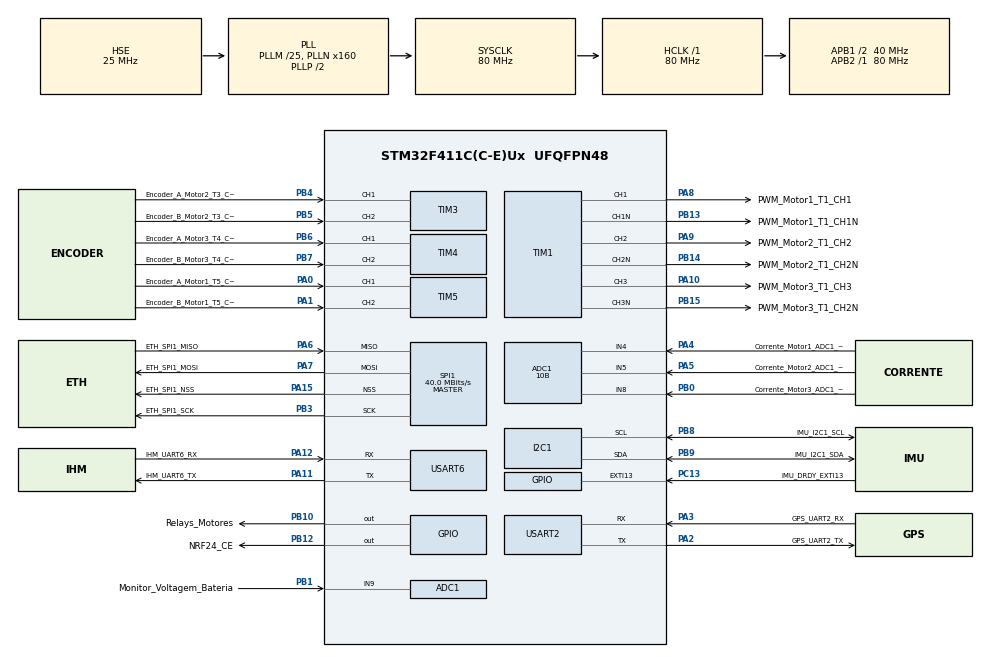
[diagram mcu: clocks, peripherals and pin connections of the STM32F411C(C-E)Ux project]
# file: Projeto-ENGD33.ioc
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ADC1.Channel-0\#ChannelRegularConversion=ADC_CHANNEL_4
ADC1.NbrOfConversion=1
ADC1.NbrOfConversionFlag=1
ADC1.Rank-0\#ChannelRegularConversion=1
ADC1.Resolution=ADC_RESOLUTION_10B
ADC1.SamplingTime-0\#ChannelRegularConversion=ADC_SAMPLETIME_3CYCLES
ADC1.master=1
FREERTOS.Tasks01=defaultTask,24,128,StartDefaultTask,Default,NULL,Dynamic,NULL,NULL
Mcu.Family=STM32F4
Mcu.Name=STM32F411C(C-E)Ux
Mcu.Package=UFQFPN48
NVIC.PriorityGroup=NVIC_PRIORITYGROUP_4
PA0-WKUP.GPIO_Label=Encoder_A_Motor1_T5_CH1
PA0-WKUP.Signal=S_TIM5_CH1
PA1.GPIO_Label=Encoder_B_Motor1_T5_CH2
PA1.Signal=S_TIM5_CH2
PA10.GPIO_Label=PWM_Motor3_T1_CH3
PA10.Signal=S_TIM1_CH3
PA11.GPIO_Label=IHM_UART6_TX
PA11.Mode=Asynchronous
PA11.Signal=USART6_TX
PA12.GPIO_Label=IHM_UART6_RX
PA12.Mode=Asynchronous
PA12.Signal=USART6_RX
PA13.Signal=SYS_JTMS-SWDIO
PA14.Signal=SYS_JTCK-SWCLK
PA15.GPIO_Label=ETH_SPI1_NSS
PA15.Mode=NSS_Signal_Hard_Output
PA15.Signal=SPI1_NSS
PA2.GPIO_Label=GPS_UART2_TX
PA2.Mode=Asynchronous
PA2.Signal=USART2_TX
PA3.GPIO_Label=GPS_UART2_RX
PA3.Mode=Asynchronous
PA3.Signal=USART2_RX
PA4.GPIO_Label=Corrente_Motor1_ADC1_IN4
PA4.Signal=ADCx_IN4
PA5.GPIO_Label=Corrente_Motor2_ADC1_IN5
PA5.Signal=ADCx_IN5
PA6.GPIO_Label=ETH_SPI1_MISO
PA6.Mode=Full_Duplex_Master
PA6.Signal=SPI1_MISO
PA7.GPIO_Label=ETH_SPI1_MOSI
PA7.Mode=Full_Duplex_Master
PA7.Signal=SPI1_MOSI
PA8.GPIO_Label=PWM_Motor1_T1_CH1
PA8.Signal=S_TIM1_CH1
PA9.GPIO_Label=PWM_Motor2_T1_CH2
PA9.Signal=S_TIM1_CH2
PB0.GPIO_Label=Corrente_Motor3_ADC1_IN8
PB0.Signal=ADCx_IN8
PB1.GPIO_Label=Monitor_Voltagem_Bateria
PB1.Signal=ADCx_IN9
PB10.GPIO_Label=Relays_Motores
PB10.Signal=GPIO_Output
PB12.GPIO_Label=NRF24_CE
PB12.GPIO_Speed=GPIO_SPEED_FREQ_VERY_HIGH
PB12.Signal=GPIO_Output
PB13.GPIO_Label=PWM_Motor1_T1_CH1N
PB13.Mode=PWM Generation1 CH1 CH1N
PB13.Signal=TIM1_CH1N
PB14.GPIO_Label=PWM_Motor2_T1_CH2N
PB14.Mode=PWM Generation2 CH2 CH2N
PB14.Signal=TIM1_CH2N
PB15.GPIO_Label=PWM_Motor3_T1_CH2N
PB15.Mode=PWM Generation3 CH3 CH3N
PB15.Signal=TIM1_CH3N
PB3.GPIO_Label=ETH_SPI1_SCK
PB3.Mode=Full_Duplex_Master
PB3.Signal=SPI1_SCK
PB4.GPIO_Label=Encoder_A_Motor2_T3_CH1
PB4.Signal=S_TIM3_CH1
PB5.GPIO_Label=Encoder_B_Motor2_T3_CH2
PB5.Signal=S_TIM3_CH2
PB6.GPIO_Label=Encoder_A_Motor3_T4_CH1
PB6.Signal=S_TIM4_CH1
PB7.GPIO_Label=Encoder_B_Motor3_T4_CH2
PB7.Signal=S_TIM4_CH2
PB8.GPIO_Label=IMU_I2C1_SCL
PB8.Mode=I2C
PB8.Signal=I2C1_SCL
PB9.GPIO_Label=IMU_I2C1_SDA
PB9.Mode=I2C
PB9.Signal=I2C1_SDA
PC13-ANTI_TAMP.GPIO_Label=IMU_DRDY_EXTI13
PC13-ANTI_TAMP.Signal=GPXTI13
PC14-OSC32_IN.GPIO_Label=Osc_32k768Hz_In
PC14-OSC32_IN.Mode=LSE-External-Oscillator
PC14-OSC32_IN.Signal=RCC_OSC32_IN
PC15-OSC32_OUT.GPIO_Label=Osc_32k768Hz_Out
PC15-OSC32_OUT.Mode=LSE-External-Oscillator
PC15-OSC32_OUT.Signal=RCC_OSC32_OUT
PH0\ -\ OSC_IN.GPIO_Label=Osc_25MHz_In
PH0\ -\ OSC_IN.Mode=HSE-External-Oscillator
PH0\ -\ OSC_IN.Signal=RCC_OSC_IN
PH1\ -\ OSC_OUT.GPIO_Label=Osc_25MHz_Out
PH1\ -\ OSC_OUT.Mode=HSE-External-Oscillator
PH1\ -\ OSC_OUT.Signal=RCC_OSC_OUT
ProjectManager.HeapSize=0x200
ProjectManager.StackSize=0x400
ProjectManager.TargetToolchain=STM32CubeIDE
RCC.48MHZClocksFreq_Value=40000000
RCC.AHBFreq_Value=80000000
RCC.APB1CLKDivider=RCC_HCLK_DIV2
RCC.APB1Freq_Value=40000000
RCC.APB1TimFreq_Value=80000000
RCC.APB2Freq_Value=80000000
RCC.APB2TimFreq_Value=80000000
RCC.CortexFreq_Value=80000000
RCC.HCLKFreq_Value=80000000
RCC.HSE_VALUE=25000000
RCC.HSI_VALUE=16000000
RCC.PLLM=25
RCC.PLLN=160
RCC.PLLSourceVirtual=RCC_PLLSOURCE_HSE
RCC.RCC_RTC_Clock_Source=RCC_RTCCLKSOURCE_LSE
RCC.SYSCLKFreq_VALUE=80000000
RCC.SYSCLKSource=RCC_SYSCLKSOURCE_PLLCLK
RCC.VCOOutputFreq_Value=160000000
SH.ADCx_IN4.0=ADC1_IN4,IN4
SH.ADCx_IN5.0=ADC1_IN5,IN5
SH.ADCx_IN8.0=ADC1_IN8,IN8
SH.ADCx_IN9.0=ADC1_IN9,IN9
SH.S_TIM1_CH1.0=TIM1_CH1,PWM Generation1 CH1 CH1N
SH.S_TIM1_CH2.0=TIM1_CH2,PWM Generation2 CH2 CH2N
SH.S_TIM1_CH3.0=TIM1_CH3,PWM Generation3 CH3 CH3N
SH.S_TIM3_CH1.0=TIM3_CH1,Encoder_Interface
SH.S_TIM3_CH2.0=TIM3_CH2,Encoder_Interface
SH.S_TIM4_CH1.0=TIM4_CH1,Encoder_Interface
SH.S_TIM4_CH2.0=TIM4_CH2,Encoder_Interface
SH.S_TIM5_CH1.0=TIM5_CH1,Encoder_Interface
SH.S_TIM5_CH2.0=TIM5_CH2,Encoder_Interface
SPI1.CalculateBaudRate=40.0 MBits/s
SPI1.Direction=SPI_DIRECTION_2LINES
SPI1.Mode=SPI_MODE_MASTER
SPI1.VirtualNSS=VM_NSSHARD
SPI1.VirtualType=VM_MASTER
TIM1.Channel-PWM\ Generation1\ CH1\ CH1N=TIM_CHANNEL_1
TIM1.Channel-PWM\ Generation2\ CH2\ CH2N=TIM_CHANNEL_2
TIM1.Channel-PWM\ Generation3\ CH3\ CH3N=TIM_CHANNEL_3
USART2.VirtualMode=VM_ASYNC
USART6.VirtualMode=VM_ASYNC
VP_ADC1_TempSens_Input.Mode=IN-TempSens
VP_FREERTOS_VS_CMSIS_V2.Mode=CMSIS_V2
VP_RTC_VS_RTC_Activate.Mode=RTC_Enabled
VP_RTC_VS_RTC_Calendar.Mode=RTC_Calendar
VP_TIM1_VS_ClockSourceINT.Mode=Internal
board=custom

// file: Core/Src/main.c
/* USER CODE BEGIN Header */
/**
 ******************************************************************************
 * @file           : main.c
 * @brief          : Main program body
 ******************************************************************************
 * @attention
 *
 * Copyright (c) 2025 STMicroelectronics.
 * All rights reserved.
 *
 * This software is licensed under terms that can be found in the LICENSE file
 * in the root directory of this software component.
 * If no LICENSE file comes with this software, it is provided AS-IS.
 *
 ******************************************************************************
 */
/* USER CODE END Header */
#include "main.h"
#include "cmsis_os.h"
#include "communication_protocols.h"
#include "kalman.h"
#include "task.h"
#include "semphr.h"
#include "queue.h"
#include "event_groups.h"
#include "string.h"
#include "stdio.h"

/* USER CODE BEGIN Includes */
#include "marvelmind_gps.h"
/* USER CODE END Includes */

ADC_HandleTypeDef hadc1;

I2C_HandleTypeDef hi2c1;

RTC_HandleTypeDef hrtc;

SPI_HandleTypeDef hspi1;

TIM_HandleTypeDef htim1;
TIM_HandleTypeDef htim3;
TIM_HandleTypeDef htim4;
TIM_HandleTypeDef htim5;

UART_HandleTypeDef huart2;
UART_HandleTypeDef huart6;

/* Definitions for defaultTask */
osThreadId_t defaultTaskHandle;
const osThreadAttr_t defaultTask_attributes = { .name = "defaultTask",
		.stack_size = 128 * 4, .priority = (osPriority_t) osPriorityNormal, };

void SystemClock_Config(void);
static void MX_GPIO_Init(void);
static void MX_RTC_Init(void);
static void MX_ADC1_Init(void);
static void MX_I2C1_Init(void);
static void MX_SPI1_Init(void);
static void MX_TIM1_Init(void);
static void MX_TIM3_Init(void);
static void MX_TIM4_Init(void);
static void MX_TIM5_Init(void);
static void MX_USART2_UART_Init(void);
static void MX_USART6_UART_Init(void);
void StartDefaultTask(void *argument);

/* USER CODE BEGIN 0 */

#define MAX_DELAY 10

SemaphoreHandle_t xDRDYBinarySemaphore;
QueueHandle_t xMagQueue;
QueueHandle_t xGPSQueue;
QueueHandle_t xSensorQueue;
EventGroupHandle_t xSensorEventGroup;

void vI2C_IMU_Send_Request_Task(void *pvParameters) {
	// Default mode for the sensor
	uint8_t mode = 0x01;
	const TickType_t xDelay = pdMS_TO_TICKS(I2C_TASK_DELAY);
	TickType_t xLastWakeTime = xTaskGetTickCount();

	for (;;) {
		HAL_I2C_Mem_Write(&hi2c1,
		HMC5883L_WRITE_ADDRESS,
		HMC5883L_REG_WRITE_ADDRESS,
		I2C_MEMADD_SIZE_8BIT, &mode, sizeof(mode),
		HAL_MAX_DELAY);

		vTaskDelayUntil(&xLastWakeTime, xDelay);
	}
}

void vI2C_IMU_Handle_Interrupt() {
	BaseType_t xHigherPriorityTaskWoken = pdFALSE;
	xSemaphoreGiveFromISR(xDRDYBinarySemaphore, &xHigherPriorityTaskWoken);
	portYIELD_FROM_ISR(xHigherPriorityTaskWoken);
}

void vI2C_IMU_Management_Task(void *pvParameters) {
	uint8_t data[6];
	MagnetometerData mag_data;

	for (;;) {
		// Verify if the semaphore is there
		xSemaphoreTake(xDRDYBinarySemaphore, MAX_DELAY);

		HAL_I2C_Mem_Read(&hi2c1, HMC5883L_READ_ADDRESS,
		HMC5883L_REG_READ_ADDRESS, I2C_MEMADD_SIZE_8BIT, data, 6,
		HAL_MAX_DELAY);

		mag_data.timestamp = xTaskGetTickCount();
		mag_data.x = (data[0] << 8) | data[1];
		mag_data.y = (data[4] << 8) | data[5];
		mag_data.z = (data[2] << 8) | data[3];

		if (xQueueSendToBack(xMagQueue, &mag_data, MAX_DELAY) != pdPASS) {
			break;
		}

		xEventGroupSetBits(xSensorEventGroup, SENSOR_MAG_READY);
	}
}

void vUART_Management_Task(void *pvParameters) {
	uint8_t uart_rx_byte;

	const TickType_t xDelay = pdMS_TO_TICKS(UART_TASK_DELAY);
	TickType_t xLastWakeTime = xTaskGetTickCount();

	Marvelmind_Init();
	MarvelmindUserPayload *payload;

	for (;;) {
		if (HAL_UART_Receive(&huart2, &uart_rx_byte, 1, UART_RX_DELAY_TIME)
							!= HAL_OK) {
			break;
		}

		Marvelmind_ProcessByte(uart_rx_byte);
		payload = Marvelmind_GetPayload();

		if (payload->updated) {
			GPSData data;
			data.timestamp = xTaskGetTickCount();  // receipt completion time (in firmware)
			data.id        = payload->id;
			data.x         = payload->x;
			data.y         = payload->y;
			data.z         = payload->z;
			data.anchors   = 0;

			xQueueSendToBack(xGPSQueue, &data, portMAX_DELAY);
			xEventGroupSetBits(xSensorEventGroup, SENSOR_GPS_READY);
		}

		vTaskDelayUntil(&xLastWakeTime, xDelay);
	}
}

void vSensor_Event_Handler_Task(void *pvParameters) {
	EventBits_t xEventGroupValue;
	const EventBits_t xBitsToWaitFor = (SENSOR_MAG_READY | SENSOR_GPS_READY);
	MagnetometerData magnetometer_data;
	GPSData gps_data;
	SensorData sensor_data;

	// Inicializar o filtro de Kalman
	kalman_filter_init();

	// Variáveis para controle de tempo
	TickType_t xLastWakeTime = xTaskGetTickCount();
	TickType_t xCurrentTime, xPreviousTime = xLastWakeTime;
	float dt = 0.0f;

	for (;;) {
		xEventGroupValue = xEventGroupWaitBits(xSensorEventGroup,
				xBitsToWaitFor,
				pdTRUE,
				pdTRUE,
				MAX_DELAY);

		if (xEventGroupValue) {
			if (!uxQueueMessagesWaiting(xMagQueue)
					|| !uxQueueMessagesWaiting(xGPSQueue)) {
				continue;
			}

			if (xQueueReceive(xMagQueue, &magnetometer_data,
			MAX_DELAY) != pdPASS
					|| xQueueReceive(xGPSQueue, &gps_data, MAX_DELAY) != pdPASS) {
				continue;
			}

			// Filtro de Kalman

			// calculo do dt
			xCurrentTime = xTaskGetTickCount();
			dt = (float)(xCurrentTime - xPreviousTime) / configTICK_RATE_HZ; // Convert to seconds
			xPreviousTime = xCurrentTime;

			// predição do Kalman (baseada no modelo de movimento)
			if (dt > 0.001f && dt < 1.0f) {  // Validar dt razoável
				kalman_filter_predict(dt);
			}

			// preparar dados de medição
			SensorData measurement_data;
			measurement_data.x = (float)gps_data.x / 100.0f;     // Convert cm to m
			measurement_data.y = (float)gps_data.y / 100.0f;     // Convert cm to m

			// calcular orientação (yaw) a partir do magnetômetro
			float mag_x = (float)magnetometer_data.x;
			float mag_y = (float)magnetometer_data.y;
			measurement_data.omega = atan2f(mag_y, mag_x);       // Yaw em radianos

			// atualização do Kalman com as medições
			kalman_filter_update(&measurement_data);

			// obter estados estimados do Kalman
			sensor_data.timestamp = xCurrentTime;
			sensor_data.x = kalman_state.states_vector[0] * 100.0f;  // Convert back to cm
			sensor_data.y = kalman_state.states_vector[1] * 100.0f;  // Convert back to cm
			sensor_data.z = gps_data.z;

			// estados de orientação e velocidade do Kalman
			sensor_data.roll = magnetometer_data.x;   // Raw magnetometer
			sensor_data.pitch = magnetometer_data.y;  // Raw magnetometer
			sensor_data.yaw = kalman_state.states_vector[2] * 180.0f / M_PI;  // Convert rad to degrees

			if (xQueueSendToBack(xSensorQueue, &sensor_data,
					MAX_DELAY) != pdPASS) {
				continue;
			}

			xEventGroupSetBits(xSensorEventGroup, SENSOR_ALL_READY);
		}
	}
}

/* USER CODE END 0 */

int main(void) {

	/* MCU Configuration--------------------------------------------------------*/

	/* Reset of all peripherals, Initializes the Flash interface and the Systick. */
	HAL_Init();

	/* Configure the system clock */
	SystemClock_Config();

	/* Initialize all configured peripherals */
	MX_GPIO_Init();
	MX_RTC_Init();
	MX_ADC1_Init();
	MX_I2C1_Init();
	MX_SPI1_Init();
	MX_TIM1_Init();
	MX_TIM3_Init();
	MX_TIM4_Init();
	MX_TIM5_Init();
	MX_USART2_UART_Init();
	MX_USART6_UART_Init();

	/* Init scheduler */
	osKernelInitialize();

	xTaskCreate(vI2C_IMU_Send_Request_Task, "Handle I2C Send Request Task",
			1000,
			NULL, 1,
			NULL);
	xTaskCreate(vUART_Management_Task, "Handle UART Task", 1000,
	NULL, 1,
	NULL);
	xTaskCreate(vSensor_Event_Handler_Task, "Sensor Event Handler Task", 1000,
	NULL, 1,
	NULL);

	/* USER CODE BEGIN RTOS_SEMAPHORES */
	/* add semaphores, ... */
	xDRDYBinarySemaphore = xSemaphoreCreateBinary();
	if (xDRDYBinarySemaphore != NULL) {
		xTaskCreate(vI2C_IMU_Management_Task,
				"Manage the data from the Mag Sensor", 1000,
				NULL, 1,
				NULL);
	}
	/* USER CODE END RTOS_SEMAPHORES */

	/* USER CODE BEGIN RTOS_QUEUES */
	/* add queues, ... */
	xMagQueue = xQueueCreate(DATA_QUEUE_SIZE, sizeof(MagnetometerData));
	xGPSQueue = xQueueCreate(DATA_QUEUE_SIZE, sizeof(GPSData));
	xSensorQueue = xQueueCreate(DATA_QUEUE_SIZE, sizeof(SensorData));
	/* USER CODE END RTOS_QUEUES */

	/* Create the thread(s) */
	/* creation of defaultTask */
	defaultTaskHandle = osThreadNew(StartDefaultTask, NULL,
			&defaultTask_attributes);

	/* USER CODE BEGIN RTOS_EVENTS */
	/* add events, ... */
	xSensorEventGroup = xEventGroupCreate();
	/* USER CODE END RTOS_EVENTS */

	/* Start scheduler */
	osKernelStart();

	/* We should never get here as control is now taken by the scheduler */

	/* Infinite loop */
	while (1) {

	}
}

void SystemClock_Config(void) {
	RCC_OscInitTypeDef RCC_OscInitStruct = { 0 };
	RCC_ClkInitTypeDef RCC_ClkInitStruct = { 0 };

	/** Configure the main internal regulator output voltage
	 */
	__HAL_RCC_PWR_CLK_ENABLE();
	__HAL_PWR_VOLTAGESCALING_CONFIG(PWR_REGULATOR_VOLTAGE_SCALE1);

	/** Initializes the RCC Oscillators according to the specified parameters
	 * in the RCC_OscInitTypeDef structure.
	 */
	RCC_OscInitStruct.OscillatorType = RCC_OSCILLATORTYPE_HSE
			| RCC_OSCILLATORTYPE_LSE;
	RCC_OscInitStruct.HSEState = RCC_HSE_ON;
	RCC_OscInitStruct.LSEState = RCC_LSE_ON;
	RCC_OscInitStruct.PLL.PLLState = RCC_PLL_ON;
	RCC_OscInitStruct.PLL.PLLSource = RCC_PLLSOURCE_HSE;
	RCC_OscInitStruct.PLL.PLLM = 25;
	RCC_OscInitStruct.PLL.PLLN = 160;
	RCC_OscInitStruct.PLL.PLLP = RCC_PLLP_DIV2;
	RCC_OscInitStruct.PLL.PLLQ = 4;
	if (HAL_RCC_OscConfig(&RCC_OscInitStruct) != HAL_OK) {
		Error_Handler();
	}

	/** Initializes the CPU, AHB and APB buses clocks
	 */
	RCC_ClkInitStruct.ClockType = RCC_CLOCKTYPE_HCLK | RCC_CLOCKTYPE_SYSCLK
			| RCC_CLOCKTYPE_PCLK1 | RCC_CLOCKTYPE_PCLK2;
	RCC_ClkInitStruct.SYSCLKSource = RCC_SYSCLKSOURCE_PLLCLK;
	RCC_ClkInitStruct.AHBCLKDivider = RCC_SYSCLK_DIV1;
	RCC_ClkInitStruct.APB1CLKDivider = RCC_HCLK_DIV2;
	RCC_ClkInitStruct.APB2CLKDivider = RCC_HCLK_DIV1;

	if (HAL_RCC_ClockConfig(&RCC_ClkInitStruct, FLASH_LATENCY_2) != HAL_OK) {
		Error_Handler();
	}
}

static void MX_ADC1_Init(void) {

	ADC_ChannelConfTypeDef sConfig = { 0 };

	/** Configure the global features of the ADC (Clock, Resolution, Data Alignment and number of conversion)
	 */
	hadc1.Instance = ADC1;
	hadc1.Init.ClockPrescaler = ADC_CLOCK_SYNC_PCLK_DIV4;
	hadc1.Init.Resolution = ADC_RESOLUTION_10B;
	hadc1.Init.ScanConvMode = DISABLE;
	hadc1.Init.ContinuousConvMode = DISABLE;
	hadc1.Init.DiscontinuousConvMode = DISABLE;
	hadc1.Init.ExternalTrigConvEdge = ADC_EXTERNALTRIGCONVEDGE_NONE;
	hadc1.Init.ExternalTrigConv = ADC_SOFTWARE_START;
	hadc1.Init.DataAlign = ADC_DATAALIGN_RIGHT;
	hadc1.Init.NbrOfConversion = 1;
	hadc1.Init.DMAContinuousRequests = DISABLE;
	hadc1.Init.EOCSelection = ADC_EOC_SINGLE_CONV;
	if (HAL_ADC_Init(&hadc1) != HAL_OK) {
		Error_Handler();
	}

	/** Configure for the selected ADC regular channel its corresponding rank in the sequencer and its sample time.
	 */
	sConfig.Channel = ADC_CHANNEL_4;
	sConfig.Rank = 1;
	sConfig.SamplingTime = ADC_SAMPLETIME_112CYCLES;
	if (HAL_ADC_ConfigChannel(&hadc1, &sConfig) != HAL_OK) {
		Error_Handler();
	}
	/* USER CODE BEGIN ADC1_Init 2 */
	sConfig.Channel = ADC_CHANNEL_5;
	sConfig.Rank = 1;
	sConfig.SamplingTime = ADC_SAMPLETIME_112CYCLES;
	if (HAL_ADC_ConfigChannel(&hadc1, &sConfig) != HAL_OK) {
		Error_Handler();
	}

	sConfig.Channel = ADC_CHANNEL_8;
	sConfig.Rank = 1;
	sConfig.SamplingTime = ADC_SAMPLETIME_112CYCLES;
	if (HAL_ADC_ConfigChannel(&hadc1, &sConfig) != HAL_OK) {
		Error_Handler();
	}

	sConfig.Channel = ADC_CHANNEL_9;
	sConfig.Rank = 1;
	sConfig.SamplingTime = ADC_SAMPLETIME_112CYCLES;
	if (HAL_ADC_ConfigChannel(&hadc1, &sConfig) != HAL_OK) {
		Error_Handler();
	}

	/* USER CODE END ADC1_Init 2 */

}

static void MX_I2C1_Init(void) {

	hi2c1.Instance = I2C1;
	hi2c1.Init.ClockSpeed = 100000;
	hi2c1.Init.DutyCycle = I2C_DUTYCYCLE_2;
	hi2c1.Init.OwnAddress1 = 0;
	hi2c1.Init.AddressingMode = I2C_ADDRESSINGMODE_7BIT;
	hi2c1.Init.DualAddressMode = I2C_DUALADDRESS_DISABLE;
	hi2c1.Init.OwnAddress2 = 0;
	hi2c1.Init.GeneralCallMode = I2C_GENERALCALL_DISABLE;
	hi2c1.Init.NoStretchMode = I2C_NOSTRETCH_DISABLE;
	if (HAL_I2C_Init(&hi2c1) != HAL_OK) {
		Error_Handler();
	}

}

static void MX_RTC_Init(void) {

	RTC_TimeTypeDef sTime = { 0 };
	RTC_DateTypeDef sDate = { 0 };

	/** Initialize RTC Only
	 */
	hrtc.Instance = RTC;
	hrtc.Init.HourFormat = RTC_HOURFORMAT_24;
	hrtc.Init.AsynchPrediv = 127;
	hrtc.Init.SynchPrediv = 255;
	hrtc.Init.OutPut = RTC_OUTPUT_DISABLE;
	hrtc.Init.OutPutPolarity = RTC_OUTPUT_POLARITY_HIGH;
	hrtc.Init.OutPutType = RTC_OUTPUT_TYPE_OPENDRAIN;
	if (HAL_RTC_Init(&hrtc) != HAL_OK) {
		Error_Handler();
	}

	/* USER CODE BEGIN Check_RTC_BKUP */

}

static void MX_SPI1_Init(void) {

	/* SPI1 parameter configuration*/
	hspi1.Instance = SPI1;
	hspi1.Init.Mode = SPI_MODE_MASTER;
	hspi1.Init.Direction = SPI_DIRECTION_2LINES;
	hspi1.Init.DataSize = SPI_DATASIZE_8BIT;
	hspi1.Init.CLKPolarity = SPI_POLARITY_LOW;
	hspi1.Init.CLKPhase = SPI_PHASE_1EDGE;
	hspi1.Init.NSS = SPI_NSS_HARD_OUTPUT;
	hspi1.Init.BaudRatePrescaler = SPI_BAUDRATEPRESCALER_2;
	hspi1.Init.FirstBit = SPI_FIRSTBIT_MSB;
	hspi1.Init.TIMode = SPI_TIMODE_DISABLE;
	hspi1.Init.CRCCalculation = SPI_CRCCALCULATION_DISABLE;
	hspi1.Init.CRCPolynomial = 10;
	if (HAL_SPI_Init(&hspi1) != HAL_OK) {
		Error_Handler();
	}

}

static void MX_TIM1_Init(void) {

	TIM_ClockConfigTypeDef sClockSourceConfig = { 0 };
	TIM_MasterConfigTypeDef sMasterConfig = { 0 };
	TIM_OC_InitTypeDef sConfigOC = { 0 };
	TIM_BreakDeadTimeConfigTypeDef sBreakDeadTimeConfig = { 0 };

	htim1.Instance = TIM1;
	htim1.Init.Prescaler = 0;
	htim1.Init.CounterMode = TIM_COUNTERMODE_UP;
	htim1.Init.Period = 65535;
	htim1.Init.ClockDivision = TIM_CLOCKDIVISION_DIV1;
	htim1.Init.RepetitionCounter = 0;
	htim1.Init.AutoReloadPreload = TIM_AUTORELOAD_PRELOAD_DISABLE;
	if (HAL_TIM_Base_Init(&htim1) != HAL_OK) {
		Error_Handler();
	}
	sClockSourceConfig.ClockSource = TIM_CLOCKSOURCE_INTERNAL;
	if (HAL_TIM_ConfigClockSource(&htim1, &sClockSourceConfig) != HAL_OK) {
		Error_Handler();
	}
	if (HAL_TIM_PWM_Init(&htim1) != HAL_OK) {
		Error_Handler();
	}
	sMasterConfig.MasterOutputTrigger = TIM_TRGO_RESET;
	sMasterConfig.MasterSlaveMode = TIM_MASTERSLAVEMODE_DISABLE;
	if (HAL_TIMEx_MasterConfigSynchronization(&htim1, &sMasterConfig)
			!= HAL_OK) {
		Error_Handler();
	}
	sConfigOC.OCMode = TIM_OCMODE_PWM1;
	sConfigOC.Pulse = 0;
	sConfigOC.OCPolarity = TIM_OCPOLARITY_HIGH;
	sConfigOC.OCNPolarity = TIM_OCNPOLARITY_HIGH;
	sConfigOC.OCFastMode = TIM_OCFAST_DISABLE;
	sConfigOC.OCIdleState = TIM_OCIDLESTATE_RESET;
	sConfigOC.OCNIdleState = TIM_OCNIDLESTATE_RESET;
	if (HAL_TIM_PWM_ConfigChannel(&htim1, &sConfigOC, TIM_CHANNEL_1)
			!= HAL_OK) {
		Error_Handler();
	}
	if (HAL_TIM_PWM_ConfigChannel(&htim1, &sConfigOC, TIM_CHANNEL_2)
			!= HAL_OK) {
		Error_Handler();
	}
	if (HAL_TIM_PWM_ConfigChannel(&htim1, &sConfigOC, TIM_CHANNEL_3)
			!= HAL_OK) {
		Error_Handler();
	}
	sBreakDeadTimeConfig.OffStateRunMode = TIM_OSSR_DISABLE;
	sBreakDeadTimeConfig.OffStateIDLEMode = TIM_OSSI_DISABLE;
	sBreakDeadTimeConfig.LockLevel = TIM_LOCKLEVEL_OFF;
	sBreakDeadTimeConfig.DeadTime = 0;
	sBreakDeadTimeConfig.BreakState = TIM_BREAK_DISABLE;
	sBreakDeadTimeConfig.BreakPolarity = TIM_BREAKPOLARITY_HIGH;
	sBreakDeadTimeConfig.AutomaticOutput = TIM_AUTOMATICOUTPUT_DISABLE;
	if (HAL_TIMEx_ConfigBreakDeadTime(&htim1, &sBreakDeadTimeConfig)
			!= HAL_OK) {
		Error_Handler();
	}
	HAL_TIM_MspPostInit(&htim1);

}

static void MX_TIM3_Init(void) {

	TIM_Encoder_InitTypeDef sConfig = { 0 };
	TIM_MasterConfigTypeDef sMasterConfig = { 0 };

	htim3.Instance = TIM3;
	htim3.Init.Prescaler = 0;
	htim3.Init.CounterMode = TIM_COUNTERMODE_UP;
	htim3.Init.Period = 65535;
	htim3.Init.ClockDivision = TIM_CLOCKDIVISION_DIV1;
	htim3.Init.AutoReloadPreload = TIM_AUTORELOAD_PRELOAD_DISABLE;
	sConfig.EncoderMode = TIM_ENCODERMODE_TI1;
	sConfig.IC1Polarity = TIM_ICPOLARITY_RISING;
	sConfig.IC1Selection = TIM_ICSELECTION_DIRECTTI;
	sConfig.IC1Prescaler = TIM_ICPSC_DIV1;
	sConfig.IC1Filter = 0;
	sConfig.IC2Polarity = TIM_ICPOLARITY_RISING;
	sConfig.IC2Selection = TIM_ICSELECTION_DIRECTTI;
	sConfig.IC2Prescaler = TIM_ICPSC_DIV1;
	sConfig.IC2Filter = 0;
	if (HAL_TIM_Encoder_Init(&htim3, &sConfig) != HAL_OK) {
		Error_Handler();
	}
	sMasterConfig.MasterOutputTrigger = TIM_TRGO_RESET;
	sMasterConfig.MasterSlaveMode = TIM_MASTERSLAVEMODE_DISABLE;
	if (HAL_TIMEx_MasterConfigSynchronization(&htim3, &sMasterConfig)
			!= HAL_OK) {
		Error_Handler();
	}

}

static void MX_TIM4_Init(void) {

	TIM_Encoder_InitTypeDef sConfig = { 0 };
	TIM_MasterConfigTypeDef sMasterConfig = { 0 };

	htim4.Instance = TIM4;
	htim4.Init.Prescaler = 0;
	htim4.Init.CounterMode = TIM_COUNTERMODE_UP;
	htim4.Init.Period = 65535;
	htim4.Init.ClockDivision = TIM_CLOCKDIVISION_DIV1;
	htim4.Init.AutoReloadPreload = TIM_AUTORELOAD_PRELOAD_DISABLE;
	sConfig.EncoderMode = TIM_ENCODERMODE_TI1;
	sConfig.IC1Polarity = TIM_ICPOLARITY_RISING;
	sConfig.IC1Selection = TIM_ICSELECTION_DIRECTTI;
	sConfig.IC1Prescaler = TIM_ICPSC_DIV1;
	sConfig.IC1Filter = 0;
	sConfig.IC2Polarity = TIM_ICPOLARITY_RISING;
	sConfig.IC2Selection = TIM_ICSELECTION_DIRECTTI;
	sConfig.IC2Prescaler = TIM_ICPSC_DIV1;
	sConfig.IC2Filter = 0;
	if (HAL_TIM_Encoder_Init(&htim4, &sConfig) != HAL_OK) {
		Error_Handler();
	}
	sMasterConfig.MasterOutputTrigger = TIM_TRGO_RESET;
	sMasterConfig.MasterSlaveMode = TIM_MASTERSLAVEMODE_DISABLE;
	if (HAL_TIMEx_MasterConfigSynchronization(&htim4, &sMasterConfig)
			!= HAL_OK) {
		Error_Handler();
	}

}

static void MX_TIM5_Init(void) {

	TIM_Encoder_InitTypeDef sConfig = { 0 };
	TIM_MasterConfigTypeDef sMasterConfig = { 0 };

	htim5.Instance = TIM5;
	htim5.Init.Prescaler = 0;
	htim5.Init.CounterMode = TIM_COUNTERMODE_UP;
	htim5.Init.Period = 4294967295;
	htim5.Init.ClockDivision = TIM_CLOCKDIVISION_DIV1;
	htim5.Init.AutoReloadPreload = TIM_AUTORELOAD_PRELOAD_DISABLE;
	sConfig.EncoderMode = TIM_ENCODERMODE_TI1;
	sConfig.IC1Polarity = TIM_ICPOLARITY_RISING;
	sConfig.IC1Selection = TIM_ICSELECTION_DIRECTTI;
	sConfig.IC1Prescaler = TIM_ICPSC_DIV1;
	sConfig.IC1Filter = 0;
	sConfig.IC2Polarity = TIM_ICPOLARITY_RISING;
	sConfig.IC2Selection = TIM_ICSELECTION_DIRECTTI;
	sConfig.IC2Prescaler = TIM_ICPSC_DIV1;
	sConfig.IC2Filter = 0;
	if (HAL_TIM_Encoder_Init(&htim5, &sConfig) != HAL_OK) {
		Error_Handler();
	}
	sMasterConfig.MasterOutputTrigger = TIM_TRGO_RESET;
	sMasterConfig.MasterSlaveMode = TIM_MASTERSLAVEMODE_DISABLE;
	if (HAL_TIMEx_MasterConfigSynchronization(&htim5, &sMasterConfig)
			!= HAL_OK) {
		Error_Handler();
	}

}

static void MX_USART2_UART_Init(void) {

	huart2.Instance = USART2;
	huart2.Init.BaudRate = 115200;
	huart2.Init.WordLength = UART_WORDLENGTH_8B;
	huart2.Init.StopBits = UART_STOPBITS_1;
	huart2.Init.Parity = UART_PARITY_NONE;
	huart2.Init.Mode = UART_MODE_TX_RX;
	huart2.Init.HwFlowCtl = UART_HWCONTROL_NONE;
	huart2.Init.OverSampling = UART_OVERSAMPLING_16;
	if (HAL_UART_Init(&huart2) != HAL_OK) {
		Error_Handler();
	}

}

static void MX_USART6_UART_Init(void) {

	huart6.Instance = USART6;
	huart6.Init.BaudRate = 115200;
	huart6.Init.WordLength = UART_WORDLENGTH_8B;
	huart6.Init.StopBits = UART_STOPBITS_1;
	huart6.Init.Parity = UART_PARITY_NONE;
	huart6.Init.Mode = UART_MODE_TX_RX;
	huart6.Init.HwFlowCtl = UART_HWCONTROL_NONE;
	huart6.Init.OverSampling = UART_OVERSAMPLING_16;
	if (HAL_UART_Init(&huart6) != HAL_OK) {
		Error_Handler();
	}

}

static void MX_GPIO_Init(void) {
	GPIO_InitTypeDef GPIO_InitStruct = { 0 };

	/* GPIO Ports Clock Enable */
	__HAL_RCC_GPIOC_CLK_ENABLE();
	__HAL_RCC_GPIOH_CLK_ENABLE();
	__HAL_RCC_GPIOA_CLK_ENABLE();
	__HAL_RCC_GPIOB_CLK_ENABLE();

	/*Configure GPIO pin Output Level */
	HAL_GPIO_WritePin(GPIOB, Relays_Motores_Pin | NRF24_CE_Pin, GPIO_PIN_RESET);

	/*Configure GPIO pin : IMU_DRDY_EXTI13_Pin */
	GPIO_InitStruct.Pin = IMU_DRDY_EXTI13_Pin;
	GPIO_InitStruct.Mode = GPIO_MODE_IT_RISING;
	GPIO_InitStruct.Pull = GPIO_NOPULL;
	HAL_GPIO_Init(IMU_DRDY_EXTI13_GPIO_Port, &GPIO_InitStruct);

	/*Configure GPIO pin : Relays_Motores_Pin */
	GPIO_InitStruct.Pin = Relays_Motores_Pin;
	GPIO_InitStruct.Mode = GPIO_MODE_OUTPUT_PP;
	GPIO_InitStruct.Pull = GPIO_NOPULL;
	GPIO_InitStruct.Speed = GPIO_SPEED_FREQ_LOW;
	HAL_GPIO_Init(Relays_Motores_GPIO_Port, &GPIO_InitStruct);

	/*Configure GPIO pin : NRF24_CE_Pin */
	GPIO_InitStruct.Pin = NRF24_CE_Pin;
	GPIO_InitStruct.Mode = GPIO_MODE_OUTPUT_PP;
	GPIO_InitStruct.Pull = GPIO_NOPULL;
	GPIO_InitStruct.Speed = GPIO_SPEED_FREQ_VERY_HIGH;
	HAL_GPIO_Init(NRF24_CE_GPIO_Port, &GPIO_InitStruct);

}

/* USER CODE BEGIN 4 */

void HAL_GPIO_EXTI_Callback(uint16_t GPIO_Pin) {
	if (GPIO_Pin == IMU_DRDY_EXTI13_Pin) {
		vI2C_IMU_Handle_Interrupt();
	} else {
		__NOP();
	}
}

/* USER CODE END 4 */

void StartDefaultTask(void *argument) {
	for (;;) {
		osDelay(1);
	}
}

void Error_Handler(void) {
	__disable_irq();
	while (1) {
	}
}
